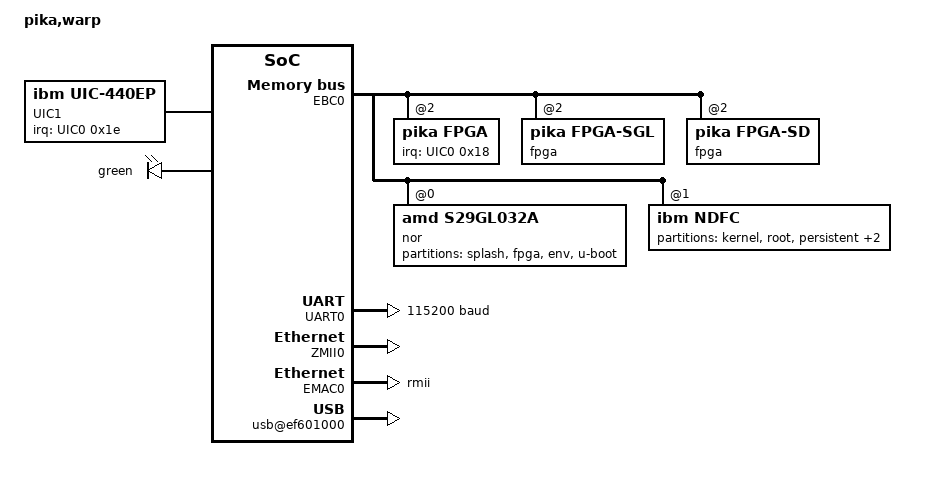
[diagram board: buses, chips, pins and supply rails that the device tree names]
FASTVC-BENCH-CORPUS:linux-main-100k-v1-e0bd41dc-8e12-4f1b-978d-a3645ae59da0
/*
 * Device Tree Source for PIKA Warp
 *
 * Copyright (c) 2008-2009 PIKA Technologies
 *   Sean MacLennan <smaclennan@pikatech.com>
/* bench 9119.1.0 72392c91a4dc */
/* bench 9119.1.1 bce945ee4e86 */
/* bench 9119.1.2 bb7137d284db */
/* bench 9119.1.3 26a5b0f7509f */
 * This file is licensed under the terms of the GNU General Public
 * License version 2.  This program is licensed "as is" without
 * any warranty of any kind, whether express or implied.
 */

/dts-v1/;

/ {
	#address-cells = <2>;
	#size-cells = <1>;
	model = "pika,warp";
	compatible = "pika,warp";
	dcr-parent = <&{/cpus/cpu@0}>;

	aliases {
		ethernet0 = &EMAC0;
		serial0 = &UART0;
	};

	cpus {
		#address-cells = <1>;
		#size-cells = <0>;

		cpu@0 {
			device_type = "cpu";
			model = "PowerPC,440EP";
			reg = <0x00000000>;
			clock-frequency = <0>; /* Filled in by zImage */
			timebase-frequency = <0>; /* Filled in by zImage */
			i-cache-line-size = <32>;
			d-cache-line-size = <32>;
			i-cache-size = <32768>;
			d-cache-size = <32768>;
			dcr-controller;
			dcr-access-method = "native";
		};
	};

	memory {
		device_type = "memory";
		reg = <0x00000000 0x00000000 0x00000000>; /* Filled in by zImage */
	};

	UIC0: interrupt-controller0 {
		compatible = "ibm,uic-440ep","ibm,uic";
		interrupt-controller;
		cell-index = <0>;
		dcr-reg = <0x0c0 0x009>;
		#address-cells = <0>;
		#size-cells = <0>;
		#interrupt-cells = <2>;
	};

	UIC1: interrupt-controller1 {
		compatible = "ibm,uic-440ep","ibm,uic";
		interrupt-controller;
		cell-index = <1>;
		dcr-reg = <0x0d0 0x009>;
		#address-cells = <0>;
		#size-cells = <0>;
		#interrupt-cells = <2>;
		interrupts = <0x1e 0x4 0x1f 0x4>; /* cascade */
		interrupt-parent = <&UIC0>;
	};

	SDR0: sdr {
		compatible = "ibm,sdr-440ep";
		dcr-reg = <0x00e 0x002>;
	};

	CPR0: cpr {
		compatible = "ibm,cpr-440ep";
		dcr-reg = <0x00c 0x002>;
	};

	plb {
		compatible = "ibm,plb-440ep", "ibm,plb-440gp", "ibm,plb4";
		#address-cells = <2>;
		#size-cells = <1>;
		ranges;
		clock-frequency = <0>; /* Filled in by zImage */

		SDRAM0: sdram {
			compatible = "ibm,sdram-440ep", "ibm,sdram-405gp";
			dcr-reg = <0x010 0x002>;
		};

		DMA0: dma {
			compatible = "ibm,dma-440ep", "ibm,dma-440gp";
			dcr-reg = <0x100 0x027>;
		};

		MAL0: mcmal {
			compatible = "ibm,mcmal-440ep", "ibm,mcmal-440gp", "ibm,mcmal";
			dcr-reg = <0x180 0x062>;
			num-tx-chans = <4>;
			num-rx-chans = <2>;
			interrupt-parent = <&MAL0>;
			interrupts = <0x0 0x1 0x2 0x3 0x4>;
			#interrupt-cells = <1>;
			#address-cells = <0>;
			#size-cells = <0>;
			interrupt-map = </*TXEOB*/ 0x0 &UIC0 0xa 0x4
					/*RXEOB*/ 0x1 &UIC0 0xb 0x4
					/*SERR*/  0x2 &UIC1 0x0 0x4
					/*TXDE*/  0x3 &UIC1 0x1 0x4
					/*RXDE*/  0x4 &UIC1 0x2 0x4>;
		};

		POB0: opb {
		  	compatible = "ibm,opb-440ep", "ibm,opb-440gp", "ibm,opb";
			#address-cells = <1>;
			#size-cells = <1>;
		  	ranges = <0x00000000 0x00000000 0x00000000 0x80000000
			          0x80000000 0x00000000 0x80000000 0x80000000>;
		  	interrupt-parent = <&UIC1>;
		  	interrupts = <0x7 0x4>;
		  	clock-frequency = <0>; /* Filled in by zImage */

			EBC0: ebc {
				compatible = "ibm,ebc-440ep", "ibm,ebc-440gp", "ibm,ebc";
				dcr-reg = <0x012 0x002>;
				#address-cells = <2>;
				#size-cells = <1>;
/* bench 19808.1.0 88c842045007 */
/* bench 19808.1.1 7d79022e659b */
/* bench 19808.1.2 336e55e1d81e */
/* bench 19808.1.3 8ed0fa9e5948 */
/* bench 19808.1.4 22b17f930a52 */
/* bench 19808.1.5 a502f9aa0bfc */
/* bench 19808.1.6 d753e6970765 */
/* bench 19808.1.7 3b841d9dcacf */
/* bench 19808.1.8 b611de570109 */
				interrupt-parent = <&UIC1>;

				fpga@2,0 {
					compatible = "pika,fpga";
			   		reg = <0x00000002 0x00000000 0x00001000>;
					interrupts = <0x18 0x8>;
					interrupt-parent = <&UIC0>;
				};

				fpga@2,2000 {
					compatible = "pika,fpga-sgl";
			   		reg = <0x00000002 0x00002000 0x00000200>;
				};

				fpga@2,4000 {
					compatible = "pika,fpga-sd";
					reg = <0x00000002 0x00004000 0x00004000>;
				};

				nor@0,0 {
					compatible = "amd,s29gl032a", "cfi-flash";
					bank-width = <2>;
					reg = <0x00000000 0x00000000 0x00400000>;
					#address-cells = <1>;
					#size-cells = <1>;

					partition@0 {
						label = "splash";
						reg = <0x00000000 0x00010000>;
					};
					partition@300000 {
						label = "fpga";
						reg = <0x0300000 0x00040000>;
					};
					partition@340000 {
						label = "env";
						reg = <0x0340000 0x00040000>;
					};
					partition@380000 {
						label = "u-boot";
						reg = <0x0380000 0x00080000>;
					};
				};

				ndfc@1,0 {
					compatible = "ibm,ndfc";
					reg = <0x00000001 0x00000000 0x00002000>;
					ccr = <0x00001000>;
					bank-settings = <0x80002222>;
					#address-cells = <1>;
					#size-cells = <1>;

					nand {
						#address-cells = <1>;
						#size-cells = <1>;

						partition@0 {
							label = "kernel";
							reg = <0x00000000 0x00200000>;
						};
						partition@200000 {
							label = "root";
							reg = <0x00200000 0x03E00000>;
						};
						partition@40000000 {
							label = "persistent";
							reg = <0x04000000 0x04000000>;
						};
						partition@80000000 {
							label = "persistent1";
							reg = <0x08000000 0x04000000>;
						};
						partition@C0000000 {
							label = "persistent2";
							reg = <0x0C000000 0x04000000>;
						};
					};
				};
			};

			UART0: serial@ef600300 {
		   		device_type = "serial";
		   		compatible = "ns16550";
		   		reg = <0xef600300 0x00000008>;
		   		virtual-reg = <0xef600300>;
		   		clock-frequency = <0>; /* Filled in by zImage */
		   		current-speed = <115200>;
		   		interrupt-parent = <&UIC0>;
		   		interrupts = <0x0 0x4>;
	   		};

/* bench 8489.1.0 5a3519aa11c9 */
/* bench 8489.1.1 212bce3a8512 */
/* bench 8489.1.2 b904ba7f38cd */
/* bench 8489.1.3 f4c786ebb912 */
/* bench 8489.1.4 7bf419fe9cbb */
/* bench 8489.1.5 58bd6ba1d7ed */
/* bench 8489.1.6 ed3df226b4e7 */
				interrupt-parent = <&UIC0>;
				interrupts = <0x2 0x4>;
				#address-cells = <1>;
				#size-cells = <0>;

				ad7414@4a {
					compatible = "adi,ad7414";
					reg = <0x4a>;
					interrupts = <0x19 0x8>;
					interrupt-parent = <&UIC0>;
				};

				/* This will create 52 and 53 */
				at24@52 {
					compatible = "atmel,24c04";
					reg = <0x52>;
				};
			};

			GPIO0: gpio@ef600b00 {
/* bench 3040.0.0 040ad2e0fef0 */
/* bench 3040.0.1 b5dbd79647dc */
				gpio-controller;
			};

			GPIO1: gpio@ef600c00 {
				compatible = "ibm,ppc4xx-gpio";
				reg = <0xef600c00 0x00000048>;
				#gpio-cells = <2>;
				gpio-controller;
			};

			power-leds {
				compatible = "gpio-leds";
				green {
/* bench 3583.1.0 f768dfae88a8 */
/* bench 3583.1.1 42383b416b80 */
/* bench 3583.1.2 f2020949e5e3 */
/* bench 3583.1.3 a2f3c2f0782f */
/* bench 3583.1.4 868da37ba863 */
/* bench 3583.1.5 1a25a34dd97a */
/* bench 3583.1.6 fab38cc1b18c */
/* bench 3583.1.7 e297fd59f337 */
/* bench 3583.1.8 b363e6ecc3fc */
/* bench 3583.1.9 f46d4bc93297 */
/* bench 3583.1.10 7cd3cf2f2773 */
/* bench 3583.1.11 3396c8fea1a5 */
/* bench 3583.1.12 6796496a9e10 */
/* bench 3583.1.13 f40e0ce7a85b */
				red {
					gpios = <&GPIO1 1 0>;
					default-state = "keep";
				};
			};

			ZMII0: emac-zmii@ef600d00 {
				compatible = "ibm,zmii-440ep", "ibm,zmii-440gp", "ibm,zmii";
				reg = <0xef600d00 0x0000000c>;
			};

			EMAC0: ethernet@ef600e00 {
				device_type = "network";
				compatible = "ibm,emac-440ep", "ibm,emac-440gp", "ibm,emac";
				interrupt-parent = <&UIC1>;
				interrupts = <0x1c 0x4 0x1d 0x4>;
				reg = <0xef600e00 0x00000070>;
				local-mac-address = [000000000000];
				mal-device = <&MAL0>;
				mal-tx-channel = <0 1>;
				mal-rx-channel = <0>;
				cell-index = <0>;
				max-frame-size = <1500>;
				rx-fifo-size = <4096>;
				tx-fifo-size = <2048>;
				phy-mode = "rmii";
				phy-map = <0x00000000>;
				zmii-device = <&ZMII0>;
				zmii-channel = <0>;
			};

			usb@ef601000 {
				compatible = "ohci-be";
				reg = <0xef601000 0x00000080>;
				interrupts = <0x8 0x1 0x9 0x1>;
				interrupt-parent = < &UIC1 >;
			};
		};
	};

	chosen {
		stdout-path = "/plb/opb/serial@ef600300";
	};
};
